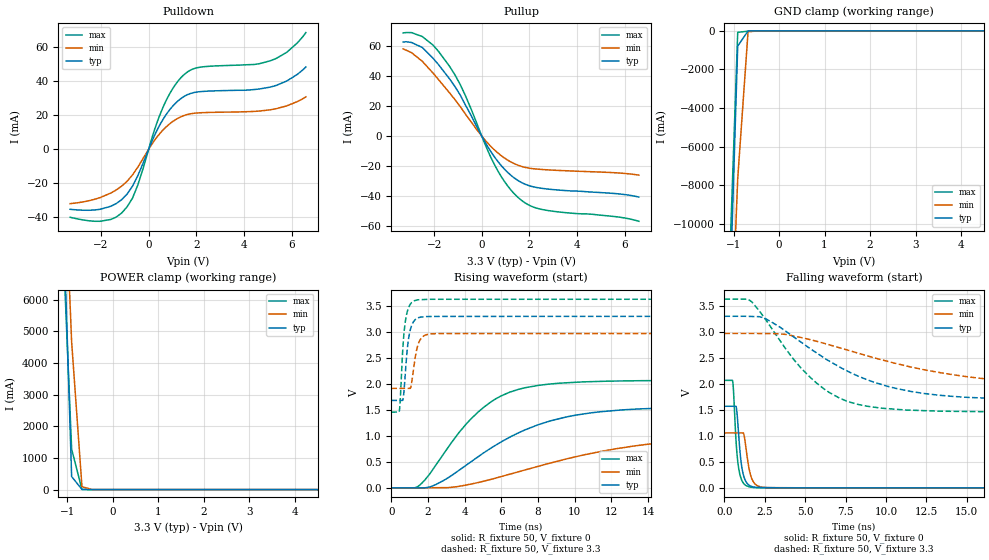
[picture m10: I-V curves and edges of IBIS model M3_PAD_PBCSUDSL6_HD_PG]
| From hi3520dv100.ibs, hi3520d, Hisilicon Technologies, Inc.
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[Model] M3_PAD_PBCSUDSL6_HD_PG
Model_type I/O
Vinl  =  0.8
Vinh  =  2
| Capacitance   typ   min   max
C_comp   3.54522587679e-12   3.80621284733e-12   3.32501668179e-12
| Variables   typ   min   max
[GND Clamp Reference]   0   0   0
[POWER Clamp Reference]   3.3   2.97   3.63
[Pulldown Reference]   0   0   0
[Pullup Reference]   3.3   2.97   3.63
[Temperature Range]   25   125   -40
[Voltage Range]   3.3   2.97   3.63
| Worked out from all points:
|   slope of the pulldown table from 0 to 0.495 V, typ, clamps not added: 33.1 ohm
|   slope of the pullup table from 0 to 0.495 V, typ, clamps not added: 38.2 ohm
|   GND clamp passes 1 mA (typ) near -0.47 V on its own axis
|   POWER clamp passes 1 mA (typ) near -0.51 V on its own axis
|   falling waveform, R_fixture 50, V_fixture 0: 20-80 % time 301ps typ, 354ps min, 268ps max; typ from 1.57 V to 0 V
|   falling waveform, R_fixture 50, V_fixture 3.3: 20-80 % time 5.58ns typ, 8.95ns min, 3.58ns max; typ from 3.3 V to 1.68 V
|   rising waveform, R_fixture 50, V_fixture 0: 20-80 % time 4.79ns typ, 8.21ns min, 3.06ns max; typ from 0 V to 1.57 V
|   rising waveform, R_fixture 50, V_fixture 3.3: 20-80 % time 272ps typ, 312ps min, 248ps max; typ from 1.68 V to 3.3 V
[GND Clamp]
| Voltage   I(typ)   I(min)   I(max)
-3.3V     -188.8A    -149A      -233.7A
-1.134V   -17.95A    -21.05A    -15.29A
-907.5mV  -786.1mA   -7.651A    -80.85mA
-680.6mV  -12.1mA    -50.84mA   -16.79mA
-453.7mV  -324.7uA   -602.9uA   -281.9uA
6.6V      0A         0A         0A
[POWER Clamp]
| Voltage   I(typ)   I(min)   I(max)
-3.3V     113.7A     89.75A     140.8A
-1.134V   10.68A     12.57A     9.071A
-907.5mV  412.4mA    4.667A     1.278A
-680.6mV  3.742mA    91.72mA    5.432mA
-453.7mV  110.3uA    891uA      688.9uA
6.6V      0A         0A         0A
[Pullup]
| Voltage   I(typ)   I(min)   I(max)
-3.3V     62.59mA    57.99mA    68.66mA
-2.949V   62.3mA     55.53mA    68.86mA
-2.496V   58.95mA    49.76mA    66.23mA
-2.042V   51.73mA    41.85mA    60.49mA
-1.361V   38.3mA     28.92mA    46.65mA
-680.6mV  20.5mA     14.55mA    26.73mA
103.1mV   -2.991mA   -1.991mA   -4.11mA
567.2mV   -14.58mA   -9.693mA   -19.98mA
1.083V    -24.07mA   -15.93mA   -33.04mA
1.65V     -30.74mA   -20.1mA    -42.52mA
2.63V     -35mA      -22.35mA   -49.15mA
6.6V      -40.6mA    -25.97mA   -56.72mA
[Pulldown]
| Voltage   I(typ)   I(min)   I(max)
-3.3V     -35.33mA   -32mA      -40.03mA
-1.588V   -33.54mA   -25.77mA   -41.29mA
-907.5mV  -26.39mA   -18.88mA   -33.88mA
-453.7mV  -15.49mA   -10.5mA    -20.94mA
206.2mV   6.91mA     4.438mA    9.734mA
618.8mV   17.9mA     11.52mA    25.16mA
1.083V    26.4mA     16.96mA    37.19mA
1.547V    31.47mA    20.08mA    44.55mA
2.217V    33.88mA    21.44mA    48.31mA
5.115V    36.53mA    23.17mA    52mA
5.796V    40.05mA    25.45mA    56.92mA
6.6V      48.32mA    30.76mA    68.55mA
[Ramp]
dV/dt_r   0.941676/4.7917n  0.634175/8.21177n  1.24088/3.0597n
dV/dt_f   0.970715/5.58191n  0.633926/8.94788n  1.30383/3.57694n
R_load = 50
[Falling Waveform]
R_fixture = 50
V_fixture = 0
V_fixture_min = 0
V_fixture_max = 0
| Time   V(typ)   V(min)   V(max)
0s        1.569V     1.057V     2.068V
517.4ps   1.569V     1.057V     2.041V
750.2ps   1.521V     1.057V     763mV
988.6ps   620.2mV    1.057V     221.6mV
1.175ns   249.7mV    1.057V     91.32mV
1.289ns   146.1mV    870.2mV    55.01mV
1.555ns   45.59mV    326.5mV    16.95mV
1.809ns   16.85mV    108.9mV    6.096mV
5.205ns   1.005mV    696.3uV    1.86mV
100ns     -5.232nV   23.79nV    10.75nV
[Falling Waveform]
R_fixture = 50
V_fixture = 3.3
V_fixture_min = 2.97
V_fixture_max = 3.63
| Time   V(typ)   V(min)   V(max)
0s        3.3V       2.97V      3.63V
1.658ns   3.297V     2.97V      3.586V
2.567ns   3.249V     2.968V     3.23V
4.437ns   2.87V      2.911V     2.414V
6.467ns   2.441V     2.753V     1.839V
8.316ns   2.145V     2.587V     1.601V
11.21ns   1.875V     2.349V     1.498V
17.57ns   1.711V     2.054V     1.461V
27.91ns   1.685V     1.933V     1.457V
100ns     1.682V     1.913V     1.457V
[Rising Waveform]
R_fixture = 50
V_fixture = 0
V_fixture_min = 0
V_fixture_max = 0
| Time   V(typ)   V(min)   V(max)
0s        5.853nV    42.65nV    14.17nV
1.554ns   316.3uV    42.65nV    54.41mV
2.429ns   63.72mV    2.51mV     438.3mV
4.087ns   436.9mV    55.26mV    1.23V
5.72ns    826.4mV    190.4mV    1.717V
6.948ns   1.06V      310.4mV    1.896V
9.159ns   1.33V      521mV      2.013V
15.56ns   1.543V     899.5mV    2.064V
23.34ns   1.567V     1.026V     2.067V
100ns     1.569V     1.057V     2.068V
[Rising Waveform]
R_fixture = 50
V_fixture = 3.3
V_fixture_min = 2.97
V_fixture_max = 3.63
| Time   V(typ)   V(min)   V(max)
0s        1.682V     1.913V     1.457V
434.2ps   1.682V     1.913V     1.475V
636.3ps   1.702V     1.913V     2.739V
771.5ps   2.25V      1.913V     3.221V
957.3ps   2.911V     1.913V     3.483V
1.075ns   3.092V     1.96V      3.551V
1.461ns   3.27V      2.759V     3.617V
1.769ns   3.291V     2.923V     3.622V
2.589ns   3.297V     2.968V     3.627V
100ns     3.3V       2.97V      3.63V
